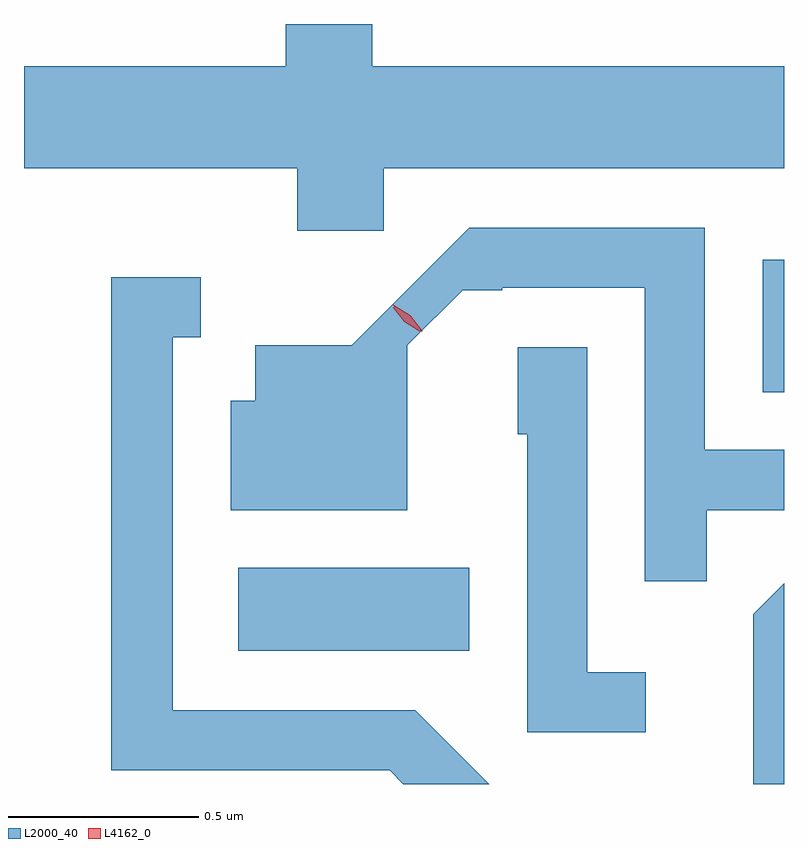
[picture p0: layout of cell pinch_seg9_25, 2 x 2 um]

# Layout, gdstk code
import gdstk
lib = gdstk.Library(unit=1e-6, precision=1e-09)
def R(c, l, rs):  # rectangles x0, y0, x1, y1
    for r in rs: c.add(gdstk.rectangle(r[:2], r[2:], *l))
def P(c, l, *ps):  # polygons
    for p in ps: c.add(gdstk.Polygon(p, *l))
L2000_40 = (2000, 40)
L4162_0 = (4162, 0)

pinch_seg9_25 = lib.new_cell('pinch_seg9_25')
R(pinch_seg9_25, L2000_40, [(1031.136,2010.526,1031.744,2010.744), (1032.516,2011.206,1032.572,2011.554)])
P(pinch_seg9_25, L2000_40, [(1031.519,2011.796),(1032.572,2011.796),(1032.572,2012.064),(1031.489,2012.064),(1031.489,2012.175),(1031.261,2012.175),(1031.261,2012.064),(1030.572,2012.064),(1030.572,2011.796),(1031.291,2011.796),(1031.291,2011.631),(1031.519,2011.631)],
  [(1032.369,2010.896),(1032.572,2010.896),(1032.572,2011.054),(1032.364,2011.054),(1032.364,2011.639),(1031.744,2011.639),(1031.434,2011.329),(1031.181,2011.329),(1031.181,2011.184),(1031.116,2011.184),(1031.116,2010.896),(1031.581,2010.896),(1031.581,2011.329),(1031.727,2011.475),(1031.831,2011.475),(1031.831,2011.481),(1032.206,2011.481),(1032.206,2010.708),(1032.369,2010.708)],
  [(1031.602,2010.369),(1030.964,2010.369),(1030.964,2011.351),(1031.037,2011.351),(1031.037,2011.509),(1030.801,2011.509),(1030.801,2010.211),(1031.534,2010.211),(1031.57,2010.175),(1031.796,2010.175)],
  [(1032.208,2010.469),(1032.054,2010.469),(1032.054,2011.324),(1031.871,2011.324),(1031.871,2011.096),(1031.896,2011.096),(1031.896,2010.311),(1032.208,2010.311)],
  [(1032.572,2010.703),(1032.491,2010.622),(1032.491,2010.175),(1032.572,2010.175)])
P(pinch_seg9_25, L4162_0, [(1031.619,2011.367),(1031.575,2011.394),(1031.544,2011.435),(1031.544,2011.436),(1031.544,2011.436),(1031.588,2011.409),(1031.62,2011.368),(1031.62,2011.367)],
  [(1031.612,2011.367),(1031.572,2011.391),(1031.544,2011.428),(1031.544,2011.429),(1031.545,2011.429),(1031.585,2011.406),(1031.613,2011.368),(1031.613,2011.367)])

lib.write_gds('pinch_seg9_25.gds')
